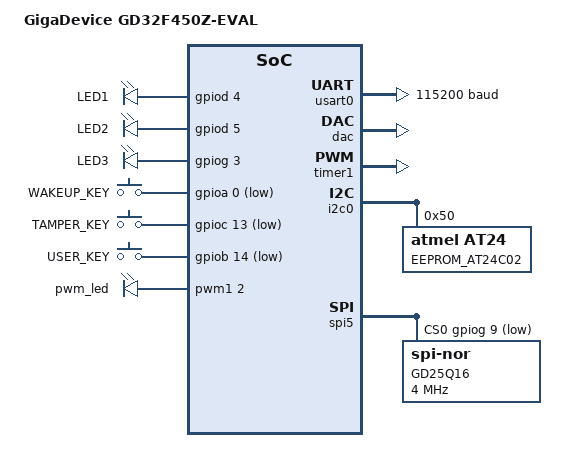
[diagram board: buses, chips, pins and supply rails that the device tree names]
/*
 * Copyright (c) 2022, Rtone.
 * SPDX-License-Identifier: Apache-2.0
 */

/dts-v1/;

#include <gigadevice/gd32f4xx/gd32f450ik.dtsi>
#include "gd32f450z_eval-pinctrl.dtsi"

/ {
	model = "GigaDevice GD32F450Z-EVAL";
	compatible = "gd,gd32f450z-eval";

	chosen {
		zephyr,sram = &sram0;
		zephyr,flash = &flash0;
		zephyr,console = &usart0;
		zephyr,shell-uart = &usart0;
	};

	leds {
		compatible = "gpio-leds";
		led1: led1 {
			gpios = <&gpiod 4 GPIO_ACTIVE_HIGH>;
			label = "LED1";
		};
		led2: led2 {
			gpios = <&gpiod 5 GPIO_ACTIVE_HIGH>;
			label = "LED2";
		};
		led3: led3 {
			gpios = <&gpiog 3 GPIO_ACTIVE_HIGH>;
			label = "LED3";
		};
	};

	gpio_keys {
		compatible = "gpio-keys";
		wakeup_key: wakeup_key {
			label = "WAKEUP_KEY";
			gpios = <&gpioa 0 GPIO_ACTIVE_LOW>;
		};
		tamper_key: tamper_key {
			label = "TAMPER_KEY";
			gpios = <&gpioc 13 GPIO_ACTIVE_LOW>;
		};
		user_key: user_key {
			label = "USER_KEY";
			gpios = <&gpiob 14 GPIO_ACTIVE_LOW>;
		};
	};

	pwmleds {
		compatible = "pwm-leds";

		/* NOTE: bridge TIMER1_CH2 (PB10) and LED1 (PE2) */
		pwm_led: pwm_led {
			pwms = <&pwm1 2 PWM_MSEC(20) PWM_POLARITY_NORMAL>;
		};
	};

	aliases {
		led0 = &led1;
		led1 = &led2;
		sw0 = &user_key;
		pwm-led0 = &pwm_led;
		eeprom-0 = &eeprom0;
		spi-flash0 = &nor_flash;
	};
};

&gpioa {
	status = "okay";
};

&gpiob {
	status = "okay";
};

&gpioc {
	status = "okay";
};

&gpiod {
	status = "okay";
};

&gpiog {
	status = "okay";
};

&usart0 {
	status = "okay";
	current-speed = <115200>;
	pinctrl-0 = <&usart0_default>;
	pinctrl-names = "default";
};

&dac {
	status = "okay";
	pinctrl-0 = <&dac_default>;
	pinctrl-names = "default";
};

&timer1 {
	status = "okay";

	pwm1: pwm {
		status = "okay";
		pinctrl-0 = <&pwm1_default>;
		pinctrl-names = "default";
	};
};

&i2c0 {
	status = "okay";
	pinctrl-0 = <&i2c0_default>;
	pinctrl-names = "default";

	eeprom0: eeprom@50 {
		compatible = "atmel,at24";
		reg = <0x50>;
		status = "okay";
		label = "EEPROM_AT24C02";
		size = <256>;
		pagesize = <8>;
		address-width = <8>;
		timeout = <5>;
	};
};

&spi5 {
	status = "okay";
	pinctrl-0 = <&spi5_default>;
	pinctrl-names = "default";
	cs-gpios = <&gpiog 9 GPIO_ACTIVE_LOW>;

	nor_flash: gd25q16@0 {
		compatible ="jedec,spi-nor";
		size = <0x1000000>;
		label = "GD25Q16";
		reg = <0>;
		spi-max-frequency = <4000000>;
		status = "okay";
		jedec-id = [c8 40 15];
	};
};
